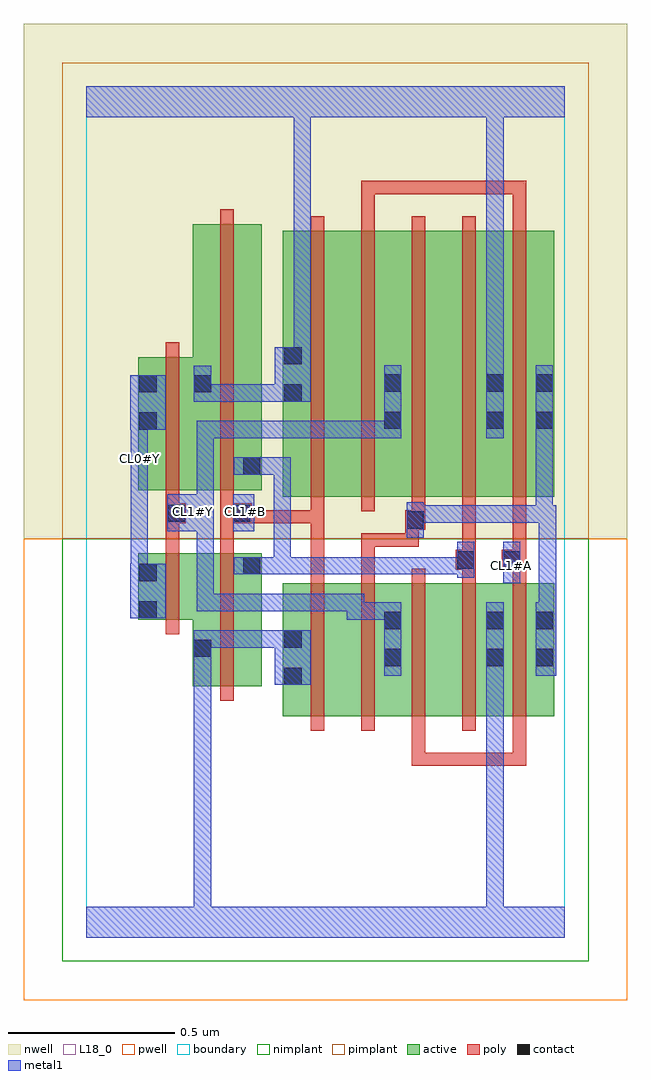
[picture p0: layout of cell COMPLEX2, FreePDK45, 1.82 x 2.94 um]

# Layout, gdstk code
import gdstk
lib = gdstk.Library(unit=1e-6, precision=1e-09)
def R(c, l, rs):  # rectangles x0, y0, x1, y1
    for r in rs: c.add(gdstk.rectangle(r[:2], r[2:], *l))
def A(c, l, x, y, w, h, nx, ny, dx, dy):  # array of equal rectangles
    R(c, l, [(x+i*dx, y+j*dy, x+i*dx+w, y+j*dy+h) for i in range(nx) for j in range(ny)])
active = (1, 0)
pwell = (2, 0)
nwell = (3, 0)
nimplant = (4, 0)
pimplant = (5, 0)
poly = (9, 0)
contact = (10, 0)
metal1 = (11, 0)
L18_0 = (18, 0)
boundary = (235, 0)

complex2 = lib.new_cell('COMPLEX2')
R(complex2, active, [(0.592,0.666,0.772,1.066), (0.592,0.666,0.652,0.948), (0.772,0.666,0.952,1.066), (0.892,0.666,0.952,1.066), (0.892,0.666,1.076,1.066), (1.076,0.666,1.26,1.066), (1.2,0.666,1.26,1.066), (1.2,0.666,1.408,1.066), (1.348,0.666,1.408,1.066), (0.32,0.756,0.528,1.156), (0.468,0.756,0.528,1.156), (0.32,0.84,0.38,0.956), (0.156,0.956,0.38,1.156), (0.156,0.956,0.216,1.156), (0.592,1.326,0.772,2.126), (0.772,1.326,0.952,2.126), (0.892,1.326,0.952,2.044), (0.892,1.326,1.076,2.126), (1.076,1.326,1.26,2.126), (1.2,1.326,1.408,2.126), (1.348,1.326,1.408,2.044), (0.156,1.346,0.216,1.746), (0.156,1.346,0.38,1.746), (0.32,1.346,0.528,2.146), (0.468,1.346,0.528,2.044), (0.32,1.452,0.38,2.146), (0.592,1.452,0.652,2.126), (1.2,1.452,1.26,2.044)])
R(complex2, pwell, [(-0.188,-0.188,1.628,1.2)])
R(complex2, nwell, [(-0.188,1.2,1.628,2.748)])
R(complex2, nimplant, [(-0.072,-0.072,1.512,1.2)])
R(complex2, pimplant, [(-0.072,1.2,1.512,2.632)])
A(complex2, poly, 0.676, 0.622, 0.04, 0.488, 5, 1, 0.152, 0)
A(complex2, poly, 0.676, 1.282, 0.04, 0.888, 5, 1, 0.152, 0)
R(complex2, poly, [(0.98,0.516,1.02,0.662), (0.98,0.516,1.02,0.556), (0.98,0.516,1.184,0.556), (1.144,0.516,1.184,0.556), (1.144,0.516,1.184,0.556), (1.144,0.516,1.184,0.556), (1.144,0.516,1.324,0.556), (1.284,0.516,1.324,0.662), (1.284,0.516,1.324,0.556), (1.284,0.516,1.324,0.556), (1.284,0.516,1.324,0.556), (0.404,0.712,0.444,1.2), (0.24,0.912,0.28,1.2), (0.676,1.07,0.716,1.286), (0.828,1.07,0.868,1.216), (1.132,1.07,1.172,1.146), (1.284,1.07,1.324,1.146), (1.112,1.106,1.172,1.166), (1.25,1.106,1.324,1.166), (1.132,1.126,1.172,1.166), (1.132,1.126,1.172,1.166), (1.132,1.126,1.172,1.322), (1.284,1.126,1.324,1.166), (1.284,1.126,1.324,1.166), (1.284,1.126,1.324,1.322), (0.24,1.16,0.28,1.286), (0.404,1.16,0.444,1.286), (0.828,1.176,0.868,1.216), (0.828,1.176,0.868,1.216), (0.828,1.176,0.868,1.216), (0.828,1.176,1,1.216), (0.96,1.176,1,1.266), (0.96,1.226,1,1.266), (0.96,1.226,1.02,1.286), (0.24,1.246,0.3,1.306), (0.404,1.246,0.444,1.286), (0.404,1.246,0.444,1.286), (0.404,1.246,0.498,1.306), (0.458,1.246,0.498,1.286), (0.458,1.246,0.498,1.286), (0.458,1.246,0.716,1.286), (0.676,1.246,0.716,1.286), (0.676,1.246,0.716,1.286), (0.676,1.246,0.716,1.286), (0.676,1.246,0.716,1.286), (0.676,1.246,0.716,1.286), (0.676,1.246,0.716,1.322), (0.98,1.246,1.02,1.322), (0.24,1.266,0.28,1.306), (0.24,1.266,0.28,1.306), (0.24,1.266,0.28,1.342), (0.404,1.266,0.444,1.342), (0.24,1.302,0.28,1.79), (0.404,1.302,0.444,2.19), (0.828,2.13,0.868,2.276), (1.284,2.13,1.324,2.276), (0.828,2.236,0.868,2.276), (0.828,2.236,0.868,2.276), (0.828,2.236,0.868,2.276), (0.828,2.236,1.046,2.276), (1.006,2.236,1.046,2.276), (1.006,2.236,1.184,2.276), (1.144,2.236,1.184,2.276), (1.144,2.236,1.184,2.276), (1.144,2.236,1.184,2.276), (1.144,2.236,1.324,2.276), (1.284,2.236,1.324,2.276), (1.284,2.236,1.324,2.276), (1.284,2.236,1.324,2.276)])
R(complex2, contact, [(0.596,0.76,0.648,0.812), (0.896,0.816,0.948,0.868), (1.204,0.816,1.256,0.868), (1.352,0.816,1.404,0.868), (0.324,0.844,0.376,0.896), (0.596,0.872,0.648,0.924), (0.896,0.928,0.948,0.98), (1.204,0.928,1.256,0.98), (1.352,0.928,1.404,0.98), (0.16,0.96,0.212,1.012), (0.16,1.072,0.212,1.124), (0.472,1.092,0.524,1.144), (1.116,1.11,1.168,1.162), (1.254,1.11,1.306,1.162), (0.964,1.23,1.016,1.282), (0.244,1.25,0.296,1.302), (0.442,1.25,0.494,1.302), (0.472,1.392,0.524,1.444), (0.16,1.528,0.212,1.58), (0.896,1.53,0.948,1.582), (1.204,1.53,1.256,1.582), (1.352,1.53,1.404,1.582), (0.596,1.612,0.648,1.664), (0.16,1.64,0.212,1.692), (0.324,1.64,0.376,1.692), (0.896,1.642,0.948,1.694), (1.204,1.642,1.256,1.694), (1.352,1.642,1.404,1.694), (0.596,1.724,0.648,1.776)])
A(complex2, metal1, 0.564, 1.092, 0.052, 0.052, 3, 1, 0.11, 0)
A(complex2, metal1, 0.564, 1.092, 0.162, 0.052, 3, 1, 0.11, 0)
R(complex2, metal1, [(0,0,1.44,0.092), (0.324,0.04,0.376,0.092), (0.324,0.04,0.376,0.092), (0.324,0.04,0.376,0.092), (0.324,0.04,0.376,0.092), (0.324,0.04,0.376,0.092), (0.324,0.04,0.376,0.092), (0.324,0.04,0.376,0.868), (1.204,0.04,1.256,0.092), (1.204,0.04,1.256,0.092), (1.204,0.04,1.256,0.092), (1.204,0.04,1.256,0.092), (1.204,0.04,1.256,0.092), (1.204,0.04,1.256,0.092), (1.204,0.04,1.256,0.092), (1.204,0.04,1.256,0.092), (1.204,0.04,1.256,0.092), (1.204,0.04,1.256,0.092), (1.204,0.04,1.256,0.092), (1.204,0.04,1.256,0.092), (1.204,0.04,1.256,0.84), (0.568,0.76,0.676,0.924), (0.896,0.788,0.948,1.008), (1.204,0.788,1.256,1.008), (1.352,0.788,1.414,1.008), (0.324,0.816,0.376,0.868), (0.324,0.816,0.376,0.868), (0.324,0.816,0.376,0.868), (0.324,0.816,0.376,0.868), (0.324,0.816,0.376,0.868), (0.324,0.816,0.376,0.868), (0.324,0.816,0.376,0.924), (0.324,0.872,0.506,0.924), (0.454,0.872,0.506,0.924), (0.454,0.872,0.506,0.924), (0.454,0.872,0.506,0.924), (0.454,0.872,0.62,0.924), (0.784,0.956,0.948,1.008), (0.784,0.956,0.836,1.034), (1.362,0.956,1.414,1.3), (0.132,0.96,0.24,1.124), (0.332,0.982,0.384,1.034), (0.332,0.982,0.384,1.034), (0.332,0.982,0.384,1.034), (0.332,0.982,0.494,1.034), (0.332,0.982,0.384,1.334), (0.442,0.982,0.494,1.034), (0.442,0.982,0.494,1.034), (0.442,0.982,0.494,1.034), (0.442,0.982,0.726,1.034), (0.674,0.982,0.726,1.034), (0.674,0.982,0.726,1.034), (0.674,0.982,0.726,1.034), (0.674,0.982,0.726,1.034), (0.674,0.982,0.726,1.034), (0.674,0.982,0.836,1.034), (0.784,0.982,0.836,1.034), (0.784,0.982,0.836,1.034), (1.254,1.066,1.306,1.19), (0.134,1.072,0.186,1.438), (1.116,1.082,1.168,1.19), (0.444,1.092,0.552,1.144), (0.5,1.092,0.552,1.144), (0.5,1.092,0.616,1.144), (0.564,1.092,0.616,1.144), (0.564,1.092,0.616,1.144), (0.564,1.092,0.616,1.144), (0.564,1.092,0.616,1.444), (0.784,1.092,0.836,1.144), (0.784,1.092,0.836,1.144), (0.894,1.092,0.946,1.144), (0.894,1.092,0.946,1.144), (0.894,1.092,0.946,1.144), (0.894,1.092,1.058,1.144), (1.006,1.092,1.058,1.144), (1.006,1.092,1.168,1.144), (0.964,1.202,1.016,1.31), (0.244,1.222,0.346,1.334), (0.442,1.222,0.506,1.334), (0.964,1.248,1.056,1.3), (1.004,1.248,1.056,1.3), (1.004,1.248,1.168,1.3), (1.116,1.248,1.168,1.3), (1.116,1.248,1.168,1.3), (1.116,1.248,1.168,1.3), (1.116,1.248,1.404,1.3), (1.352,1.248,1.404,1.554), (1.352,1.248,1.404,1.3), (1.352,1.248,1.404,1.3), (1.352,1.248,1.414,1.3), (1.362,1.248,1.414,1.3), (1.362,1.248,1.414,1.3), (0.294,1.282,0.384,1.334), (0.332,1.282,0.384,1.334), (0.332,1.282,0.384,1.554), (0.134,1.386,0.186,1.494), (0.444,1.392,0.616,1.444), (0.134,1.442,0.186,1.58), (0.332,1.502,0.384,1.554), (0.332,1.502,0.384,1.554), (0.332,1.502,0.384,1.554), (0.332,1.502,0.384,1.554), (0.332,1.502,0.384,1.554), (0.332,1.502,0.506,1.554), (0.454,1.502,0.506,1.554), (0.454,1.502,0.506,1.554), (0.454,1.502,0.506,1.554), (0.454,1.502,0.726,1.554), (0.674,1.502,0.726,1.554), (0.674,1.502,0.726,1.554), (0.674,1.502,0.726,1.554), (0.674,1.502,0.726,1.554), (0.674,1.502,0.726,1.554), (0.674,1.502,0.836,1.554), (0.784,1.502,0.836,1.554), (0.784,1.502,0.836,1.554), (0.784,1.502,0.836,1.554), (0.784,1.502,0.948,1.554), (0.896,1.502,0.948,1.722), (1.204,1.502,1.256,1.722), (1.352,1.502,1.404,1.722), (0.132,1.528,0.24,1.692), (0.134,1.528,0.186,1.58), (0.134,1.528,0.186,1.58), (0.324,1.612,0.376,1.72), (0.324,1.612,0.506,1.664), (0.454,1.612,0.506,1.664), (0.454,1.612,0.506,1.664), (0.454,1.612,0.506,1.664), (0.454,1.612,0.62,1.664), (0.568,1.612,0.676,1.776), (1.204,1.67,1.256,2.52), (0.624,1.724,0.676,2.52), (0,2.468,1.44,2.56), (0.624,2.468,0.676,2.52), (0.624,2.468,0.676,2.52), (0.624,2.468,0.676,2.52), (0.624,2.468,0.676,2.52), (0.624,2.468,0.676,2.52), (0.624,2.468,0.676,2.52), (0.624,2.468,0.676,2.52), (0.624,2.468,0.676,2.52), (1.204,2.468,1.256,2.52), (1.204,2.468,1.256,2.52), (1.204,2.468,1.256,2.52), (1.204,2.468,1.256,2.52), (1.204,2.468,1.256,2.52), (1.204,2.468,1.256,2.52), (1.204,2.468,1.256,2.52), (1.204,2.468,1.256,2.52)])
R(complex2, L18_0, [(0,0,1.44,0.092), (0.324,0.04,0.376,0.092), (0.324,0.04,0.376,0.092), (0.324,0.04,0.376,0.092), (0.324,0.04,0.376,0.092), (0.324,0.04,0.376,0.092), (0.324,0.04,0.376,0.092), (0.324,0.04,0.376,0.868), (1.204,0.04,1.256,0.092), (1.204,0.04,1.256,0.092), (1.204,0.04,1.256,0.092), (1.204,0.04,1.256,0.092), (1.204,0.04,1.256,0.092), (1.204,0.04,1.256,0.092), (1.204,0.04,1.256,0.092), (1.204,0.04,1.256,0.092), (1.204,0.04,1.256,0.092), (1.204,0.04,1.256,0.092), (1.204,0.04,1.256,0.092), (1.204,0.04,1.256,0.092), (1.204,0.04,1.256,0.84), (0.568,0.76,0.676,0.924), (0.896,0.788,0.948,1.008), (1.204,0.788,1.256,1.008), (0.324,0.816,0.376,0.924), (0.324,0.816,0.376,0.868), (0.324,0.816,0.376,0.868), (0.324,0.816,0.376,0.868), (0.324,0.816,0.376,0.868), (0.324,0.816,0.376,0.868), (0.324,0.816,0.376,0.868), (0.324,0.872,0.506,0.924), (0.454,0.872,0.506,0.924), (0.454,0.872,0.506,0.924), (0.454,0.872,0.506,0.924), (0.454,0.872,0.62,0.924), (0.784,0.956,0.836,1.034), (0.784,0.956,0.948,1.008), (0.132,0.96,0.24,1.124), (0.332,0.982,0.384,1.034), (0.332,0.982,0.384,1.034), (0.332,0.982,0.384,1.034), (0.332,0.982,0.384,1.334), (0.332,0.982,0.494,1.034), (0.442,0.982,0.494,1.034), (0.442,0.982,0.494,1.034), (0.442,0.982,0.494,1.034), (0.442,0.982,0.726,1.034), (0.674,0.982,0.726,1.034), (0.674,0.982,0.726,1.034), (0.674,0.982,0.726,1.034), (0.674,0.982,0.726,1.034), (0.674,0.982,0.726,1.034), (0.674,0.982,0.836,1.034), (0.784,0.982,0.836,1.034), (0.784,0.982,0.836,1.034), (1.254,1.066,1.306,1.19), (0.134,1.072,0.186,1.438), (1.254,1.094,1.306,1.146), (0.244,1.222,0.346,1.334), (0.442,1.222,0.506,1.334), (0.294,1.254,0.346,1.306), (0.454,1.254,0.506,1.306), (0.294,1.282,0.384,1.334), (0.332,1.282,0.384,1.334), (0.332,1.282,0.384,1.554), (0.134,1.386,0.186,1.494), (0.134,1.414,0.186,1.466), (0.134,1.442,0.186,1.58), (0.332,1.502,0.384,1.554), (0.332,1.502,0.384,1.554), (0.332,1.502,0.384,1.554), (0.332,1.502,0.384,1.554), (0.332,1.502,0.384,1.554), (0.332,1.502,0.506,1.554), (0.454,1.502,0.506,1.554), (0.454,1.502,0.506,1.554), (0.454,1.502,0.506,1.554), (0.454,1.502,0.726,1.554), (0.674,1.502,0.726,1.554), (0.674,1.502,0.726,1.554), (0.674,1.502,0.726,1.554), (0.674,1.502,0.726,1.554), (0.674,1.502,0.726,1.554), (0.674,1.502,0.836,1.554), (0.784,1.502,0.836,1.554), (0.784,1.502,0.836,1.554), (0.784,1.502,0.836,1.554), (0.784,1.502,0.948,1.554), (0.896,1.502,0.948,1.722), (1.204,1.502,1.256,1.722), (0.132,1.528,0.24,1.692), (0.134,1.528,0.186,1.58), (0.134,1.528,0.186,1.58), (0.324,1.612,0.376,1.72), (0.324,1.612,0.506,1.664), (0.454,1.612,0.506,1.664), (0.454,1.612,0.506,1.664), (0.454,1.612,0.506,1.664), (0.454,1.612,0.62,1.664), (0.568,1.612,0.676,1.776), (1.204,1.67,1.256,2.52), (0.624,1.724,0.676,2.52), (0,2.468,1.44,2.56), (0.624,2.468,0.676,2.52), (0.624,2.468,0.676,2.52), (0.624,2.468,0.676,2.52), (0.624,2.468,0.676,2.52), (0.624,2.468,0.676,2.52), (0.624,2.468,0.676,2.52), (0.624,2.468,0.676,2.52), (0.624,2.468,0.676,2.52), (1.204,2.468,1.256,2.52), (1.204,2.468,1.256,2.52), (1.204,2.468,1.256,2.52), (1.204,2.468,1.256,2.52), (1.204,2.468,1.256,2.52), (1.204,2.468,1.256,2.52), (1.204,2.468,1.256,2.52), (1.204,2.468,1.256,2.52)])
R(complex2, boundary, [(0,0,1.44,2.56)])
complex2.add(gdstk.Label('CL0#Y', (0.16,1.44), layer=11, texttype=0))
complex2.add(gdstk.Label('CL1#A', (1.28,1.12), layer=11, texttype=0))
complex2.add(gdstk.Label('CL1#B', (0.48,1.28), layer=11, texttype=0))
complex2.add(gdstk.Label('CL1#Y', (0.32,1.28), layer=11, texttype=0))

lib.write_gds('COMPLEX2.gds')
